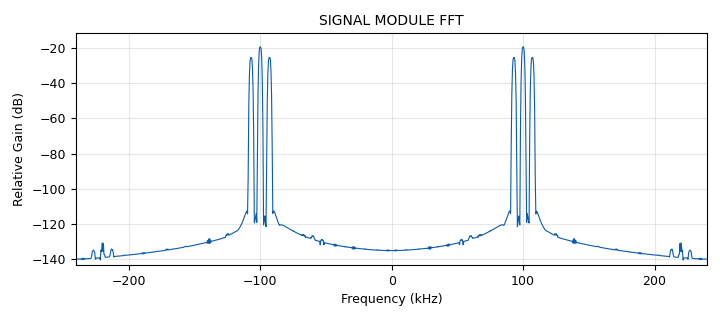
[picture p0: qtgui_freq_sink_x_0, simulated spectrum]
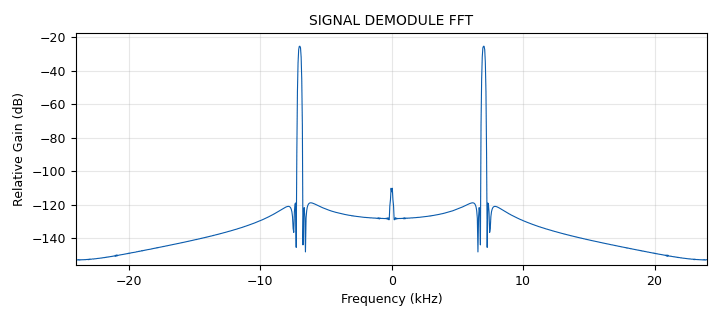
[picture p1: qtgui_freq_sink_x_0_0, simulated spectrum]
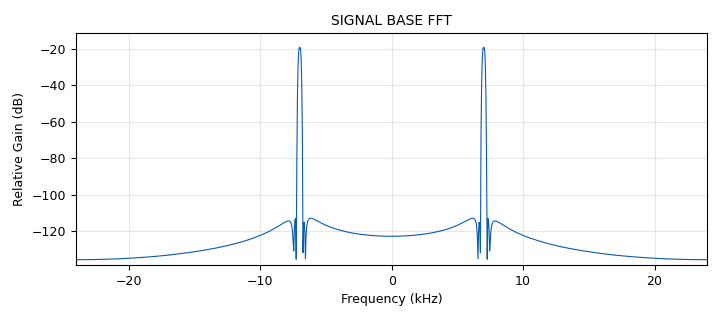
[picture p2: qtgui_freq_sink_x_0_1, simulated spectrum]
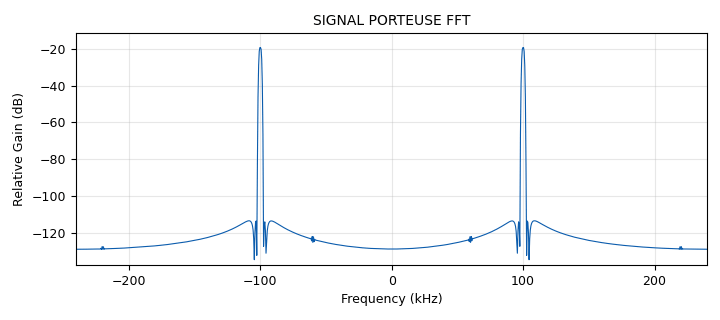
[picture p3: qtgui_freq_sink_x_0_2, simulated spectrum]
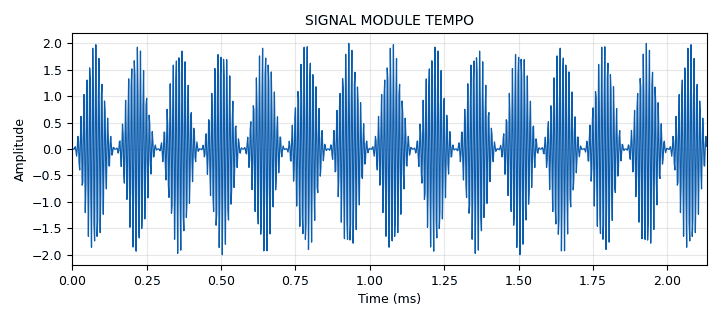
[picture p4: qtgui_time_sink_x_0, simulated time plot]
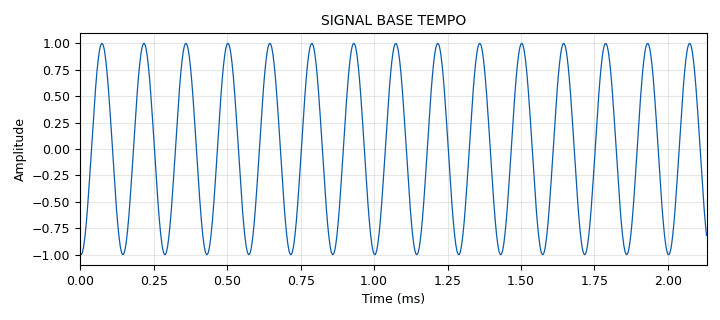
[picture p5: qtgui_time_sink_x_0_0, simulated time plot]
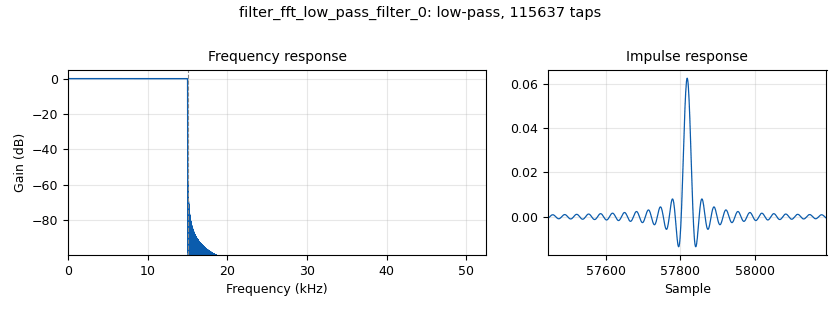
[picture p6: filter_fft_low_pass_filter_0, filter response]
options:
  parameters:
    generate_options: qt_gui
    id: radioTp
    output_language: python
    title: Not titled yet
  states: {}

blocks:
- name: am1
  id: variable_qtgui_range
  parameters:
    gui_hint: 1,1,1,1
    label: amp signal 1
    start: '-1'
    step: '0.1'
    stop: '1'
    value: '1'
    widget: slider
  states: {}
- name: am2
  id: variable_qtgui_range
  parameters:
    gui_hint: 4,1,1,1
    label: amp porteuse
    start: '-1'
    step: '0.1'
    stop: '1'
    value: '1'
  states: {}
- name: freq1
  id: variable_qtgui_range
  parameters:
    gui_hint: 0,1,1,1
    label: freq signal 1
    start: '0'
    step: '500'
    stop: 10e3
    value: '7000'
  states: {}
- name: freq2
  id: variable_qtgui_range
  parameters:
    gui_hint: 3,1,1,1
    label: freq porteuse
    start: '-20e4'
    step: 20e3
    stop: 20e4
    value: 10e4
  states: {}
- name: freq3
  id: variable_qtgui_range
  parameters:
    gui_hint: 5,1
    label: Delta
    start: '-1000'
    step: '200'
    stop: '1000'
    value: '0'
  states: {}
- name: samp_rate
  id: variable
  parameters:
    value: '480000'
  states: {}
- name: analog_sig_source_x_0
  id: analog_sig_source_x
  parameters:
    amp: am1
    freq: freq1
    offset: '0'
    phase: '0'
    samp_rate: samp_rate
    type: float
    waveform: analog.GR_SIN_WAVE
  states: {}
- name: analog_sig_source_x_0_0
  id: analog_sig_source_x
  parameters:
    amp: am2
    freq: freq2
    offset: '0'
    phase: '0'
    samp_rate: samp_rate
    type: float
    waveform: analog.GR_SIN_WAVE
  states: {}
- name: analog_sig_source_x_0_0_0
  id: analog_sig_source_x
  parameters:
    amp: am2
    freq: freq2+freq3
    offset: '0'
    phase: '0'
    samp_rate: samp_rate
    type: float
    waveform: analog.GR_SIN_WAVE
  states: {}
- name: blocks_add_xx_0
  id: blocks_add_xx
  parameters:
    type: float
  states: {}
- name: blocks_multiply_xx_0
  id: blocks_multiply_xx
  parameters:
    type: float
  states: {}
- name: blocks_multiply_xx_1
  id: blocks_multiply_xx
  parameters:
    type: float
  states: {}
- name: blocks_throttle2_0
  id: blocks_throttle2
  parameters:
    samples_per_second: samp_rate
    type: float
  states: {}
- name: dc_blocker_xx_0
  id: dc_blocker_xx
  parameters:
    length: '48'
    long_form: 'True'
    type: ff
  states: {}
- name: filter_fft_low_pass_filter_0
  id: filter_fft_low_pass_filter
  parameters:
    cutoff_freq: 15e3
    decim: '1'
    gain: '1'
    samp_rate: samp_rate
    type: fff
    width: '10'
    win: window.WIN_HAMMING
  states: {}
- name: qtgui_freq_sink_x_0
  id: qtgui_freq_sink_x
  parameters:
    autoscale: 'True'
    average: '0.05'
    bw: samp_rate
    color1: '"dark red"'
    ctrlpanel: 'True'
    fc: '0'
    fftsize: '1024'
    grid: 'True'
    gui_hint: 5,2
    name: SIGNAL MODULE FFT
    type: float
    wintype: window.WIN_FLATTOP
  states: {}
- name: qtgui_freq_sink_x_0_0
  id: qtgui_freq_sink_x
  parameters:
    autoscale: 'True'
    bw: samp_rate/10
    color1: '"dark red"'
    ctrlpanel: 'True'
    fc: '0'
    fftsize: '1024'
    gui_hint: 7,2
    name: SIGNAL DEMODULE FFT
    type: float
    wintype: window.WIN_FLATTOP
  states: {}
- name: qtgui_freq_sink_x_0_1
  id: qtgui_freq_sink_x
  parameters:
    autoscale: 'True'
    bw: samp_rate/10
    color1: '"dark red"'
    ctrlpanel: 'True'
    fc: '0'
    fftsize: '1024'
    gui_hint: 0,2,2,1
    name: SIGNAL BASE FFT
    type: float
    wintype: window.WIN_FLATTOP
    ymin: '-10'
  states: {}
- name: qtgui_freq_sink_x_0_2
  id: qtgui_freq_sink_x
  parameters:
    autoscale: 'True'
    bw: samp_rate
    color1: '"dark red"'
    ctrlpanel: 'True'
    fc: '0'
    fftsize: '1024'
    grid: 'True'
    gui_hint: 3,2,2,1
    name: SIGNAL PORTEUSE FFT
    type: float
    wintype: window.WIN_FLATTOP
  states: {}
- name: qtgui_time_sink_x_0
  id: qtgui_time_sink_x
  parameters:
    autoscale: 'True'
    ctrlpanel: 'True'
    gui_hint: 5,0
    name: SIGNAL MODULE TEMPO
    size: '1024'
    srate: samp_rate
    type: float
  states: {}
- name: qtgui_time_sink_x_0_0
  id: qtgui_time_sink_x
  parameters:
    autoscale: 'True'
    ctrlpanel: 'True'
    gui_hint: 0,0,2,1
    name: SIGNAL BASE TEMPO
    size: '1024'
    srate: samp_rate
    type: float
  states: {}
- name: qtgui_time_sink_x_0_1
  id: qtgui_time_sink_x
  parameters:
    ctrlpanel: 'True'
    grid: 'True'
    gui_hint: 3,0,2,1
    name: SIGNAL PORTEUSE TEMPO
    size: '1024'
    srate: samp_rate
    type: float
  states: {}
- name: qtgui_time_sink_x_1
  id: qtgui_time_sink_x
  parameters:
    ctrlpanel: 'True'
    gui_hint: 7,0
    name: SIGNAL DEMODULE TEMPO
    size: '1024'
    srate: samp_rate
    type: float
  states: {}
- name: rational_resampler_xxx_0
  id: rational_resampler_xxx
  parameters:
    decim: '10'
    interp: '1'
    type: fff
  states: {}
- name: rational_resampler_xxx_0_0
  id: rational_resampler_xxx
  parameters:
    decim: '10'
    interp: '1'
    type: fff
  states: {}

connections:
- [analog_sig_source_x_0, '0', blocks_throttle2_0, '0']
- [analog_sig_source_x_0, '0', qtgui_time_sink_x_0_0, '0']
- [analog_sig_source_x_0, '0', rational_resampler_xxx_0, '0']
- [analog_sig_source_x_0_0, '0', blocks_add_xx_0, '1']
- [analog_sig_source_x_0_0, '0', blocks_multiply_xx_0, '1']
- [analog_sig_source_x_0_0, '0', qtgui_freq_sink_x_0_2, '0']
- [analog_sig_source_x_0_0, '0', qtgui_time_sink_x_0_1, '0']
- [analog_sig_source_x_0_0_0, '0', blocks_multiply_xx_1, '1']
- [blocks_add_xx_0, '0', blocks_multiply_xx_1, '0']
- [blocks_add_xx_0, '0', qtgui_freq_sink_x_0, '0']
- [blocks_add_xx_0, '0', qtgui_time_sink_x_0, '0']
- [blocks_multiply_xx_0, '0', blocks_add_xx_0, '0']
- [blocks_multiply_xx_1, '0', filter_fft_low_pass_filter_0, '0']
- [blocks_throttle2_0, '0', blocks_multiply_xx_0, '0']
- [dc_blocker_xx_0, '0', qtgui_time_sink_x_1, '0']
- [dc_blocker_xx_0, '0', rational_resampler_xxx_0_0, '0']
- [filter_fft_low_pass_filter_0, '0', dc_blocker_xx_0, '0']
- [rational_resampler_xxx_0, '0', qtgui_freq_sink_x_0_1, '0']
- [rational_resampler_xxx_0_0, '0', qtgui_freq_sink_x_0_0, '0']

metadata:
  file_format: 1
  grc_version: 3.10.6.0
